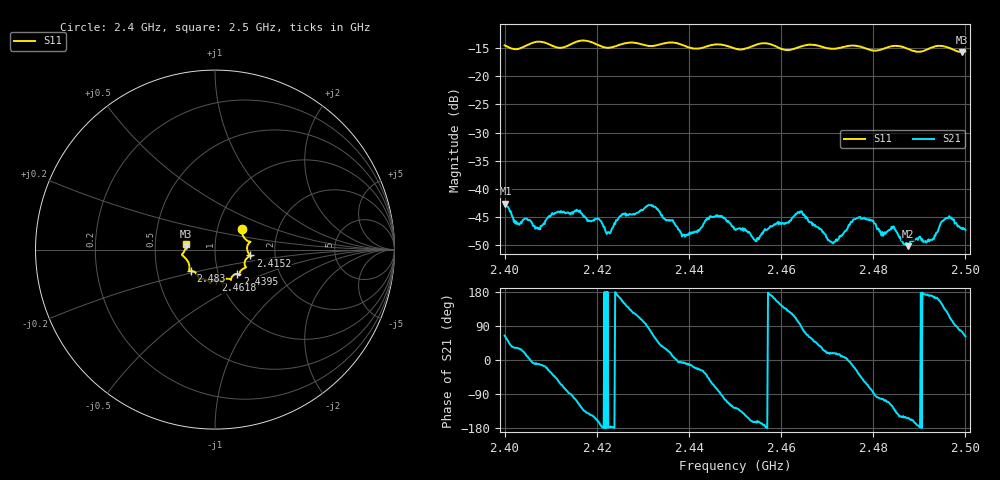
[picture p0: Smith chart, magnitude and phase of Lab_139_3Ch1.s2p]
# Hz S RI R 50
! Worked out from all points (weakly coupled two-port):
!   601 points, 2.4 GHz to 2.5 GHz, reference 50 ohm
!   highest |S21| = -42.63 dB at 2.4002 GHz (marker M1); lowest = -50.2 dB at 2.4875 GHz (marker M2)
!   lowest |S11| = -15.7 dB at 2.4992 GHz (marker M3), VSWR 1.39, Z = 36 + j1.33 ohm
!   |S11| at or under -10 dB: start of sweep to end of sweep
!   S12 and S22 are empty: the file has one direction only
!   S11 on the Smith chart (normalised r, x): 2.4 GHz: 1.31, +0.31; 2.4152 GHz: 1.48, -0.10; 2.4395 GHz: 1.23, -0.34; 2.4618 GHz: 0.95, -0.33; 2.483 GHz: 0.74, -0.18; 2.5 GHz: 0.72, +0.05
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2.4e9  0.1502 0.1133  0.00314 0.00656  0 0  0 0
2.400167e9  0.15 0.111  0.00355 0.00648  0 0  0 0
2.407167e9  0.1979 0.0441  0.00439 -0.000833  0 0  0 0
2.415167e9  0.1965 -0.0326  -0.00125 -0.00622  0 0  0 0
2.416667e9  0.204 -0.0377  -0.00355 -0.00491  0 0  0 0
2.4225e9  0.167 -0.0643  -0.00414 -0.000113  0 0  0 0
2.425667e9  0.1696 -0.0943  -0.00538 0.00255  0 0  0 0
2.433333e9  0.1369 -0.1318  0.00442 0.00474  0 0  0 0
2.4395e9  0.1238 -0.1353  0.00382 -0.000682  0 0  0 0
2.445e9  0.0888 -0.1674  0.00265 -0.00499  0 0  0 0
2.45e9  0.0695 -0.1618  -0.00261 -0.00352  0 0  0 0
2.454667e9  0.0396 -0.1867  -0.00333 -0.000862  0 0  0 0
2.461833e9  0.00404 -0.171  -0.00315 0.00415  0 0  0 0
2.466667e9  -0.0263 -0.1889  0.00286 0.00416  0 0  0 0
2.471167e9  -0.0515 -0.1675  0.00312 0.00105  0 0  0 0
2.476667e9  -0.0893 -0.1623  0.00461 -0.0031  0 0  0 0
2.483e9  -0.1355 -0.1181  -0.00147 -0.00389  0 0  0 0
2.483333e9  -0.1381 -0.1179  -0.00154 -0.00402  0 0  0 0
2.4875e9  -0.1422 -0.1022  -0.00277 -0.0014  0 0  0 0
2.496167e9  -0.1791 -0.0213  -0.00297 0.00469  0 0  0 0
2.499167e9  -0.1632 0.018  0.00111 0.00434  0 0  0 0
2.5e9  -0.1629 0.0332  0.00202 0.00381  0 0  0 0
